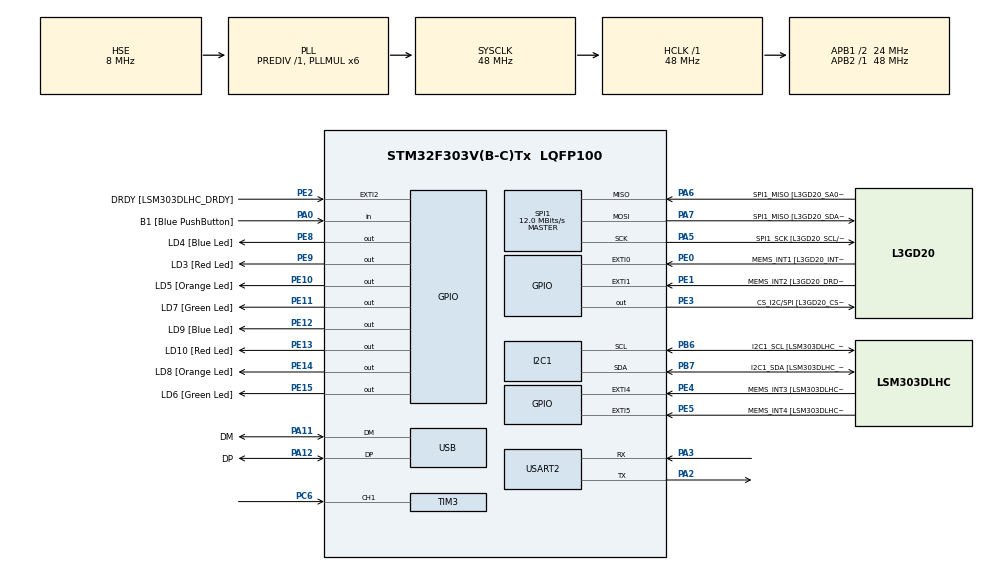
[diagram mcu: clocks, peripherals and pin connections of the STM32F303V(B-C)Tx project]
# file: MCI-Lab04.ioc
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I2C1.Timing=0x00201D2B
I2C1.Timing-I2C=0x2000090E
Mcu.Family=STM32F3
Mcu.Name=STM32F303V(B-C)Tx
Mcu.Package=LQFP100
NVIC.PriorityGroup=NVIC_PRIORITYGROUP_0
NVIC.TIM2_IRQn=true\:0\:0\:false\:false\:true\:true\:true\:true
NVIC.TIM3_IRQn=true\:0\:0\:false\:false\:true\:true\:true\:true
PA0.GPIO_Label=B1 [Blue PushButton]
PA0.Signal=GPIO_Input
PA11.GPIO_Label=DM
PA11.Mode=Device
PA11.Signal=USB_DM
PA12.GPIO_Label=DP
PA12.Mode=Device
PA12.Signal=USB_DP
PA13.GPIO_Label=SWDIO
PA13.Mode=Serial_Wire
PA13.Signal=SYS_JTMS-SWDIO
PA14.GPIO_Label=SWCLK
PA14.Mode=Serial_Wire
PA14.Signal=SYS_JTCK-SWCLK
PA2.Mode=Asynchronous
PA2.Signal=USART2_TX
PA3.Mode=Asynchronous
PA3.Signal=USART2_RX
PA5.GPIO_Label=SPI1_SCK [L3GD20_SCL/SPC]
PA5.Mode=Full_Duplex_Master
PA5.Signal=SPI1_SCK
PA6.GPIO_Label=SPI1_MISO [L3GD20_SA0/SDO]
PA6.Mode=Full_Duplex_Master
PA6.Signal=SPI1_MISO
PA7.GPIO_Label=SPI1_MISO [L3GD20_SDA/SDI/SDO]
PA7.Mode=Full_Duplex_Master
PA7.Signal=SPI1_MOSI
PB3.GPIO_Label=SWO
PB3.Signal=SYS_JTDO-TRACESWO
PB6.GPIO_Label=I2C1_SCL [LSM303DLHC_SCL]
PB6.GPIO_Pu=GPIO_PULLUP
PB6.Mode=I2C
PB6.Signal=I2C1_SCL
PB7.GPIO_Label=I2C1_SDA [LSM303DLHC_SDA]
PB7.GPIO_Pu=GPIO_PULLUP
PB7.Mode=I2C
PB7.Signal=I2C1_SDA
PC14-OSC32_IN.GPIO_Label=OSC32_IN
PC14-OSC32_IN.Signal=RCC_OSC32_IN
PC15-OSC32_OUT.GPIO_Label=OSC32_OUT
PC15-OSC32_OUT.Signal=RCC_OSC32_OUT
PC6.Signal=S_TIM3_CH1
PE0.GPIO_Label=MEMS_INT1 [L3GD20_INT1]
PE0.GPIO_ModeDefaultEXTI=GPIO_MODE_EVT_RISING
PE0.Signal=GPXTI0
PE1.GPIO_Label=MEMS_INT2 [L3GD20_DRDY/INT2]
PE1.GPIO_ModeDefaultEXTI=GPIO_MODE_EVT_RISING
PE1.Signal=GPXTI1
PE10.GPIO_Label=LD5 [Orange Led]
PE10.Signal=GPIO_Output
PE11.GPIO_Label=LD7 [Green Led]
PE11.Signal=GPIO_Output
PE12.GPIO_Label=LD9 [Blue Led]
PE12.Signal=GPIO_Output
PE13.GPIO_Label=LD10 [Red Led]
PE13.Signal=GPIO_Output
PE14.GPIO_Label=LD8 [Orange Led]
PE14.Signal=GPIO_Output
PE15.GPIO_Label=LD6 [Green Led]
PE15.Signal=GPIO_Output
PE2.GPIO_Label=DRDY [LSM303DLHC_DRDY]
PE2.GPIO_ModeDefaultEXTI=GPIO_MODE_EVT_RISING
PE2.Signal=GPXTI2
PE3.GPIO_Label=CS_I2C/SPI [L3GD20_CS_I2C/SPI]
PE3.Signal=GPIO_Output
PE4.GPIO_Label=MEMS_INT3 [LSM303DLHC_INT1]
PE4.GPIO_ModeDefaultEXTI=GPIO_MODE_EVT_RISING
PE4.Signal=GPXTI4
PE5.GPIO_Label=MEMS_INT4 [LSM303DLHC_INT2]
PE5.GPIO_ModeDefaultEXTI=GPIO_MODE_EVT_RISING
PE5.Signal=GPXTI5
PE8.GPIO_Label=LD4 [Blue Led]
PE8.Signal=GPIO_Output
PE9.GPIO_Label=LD3 [Red Led]
PE9.Signal=GPIO_Output
PF0-OSC_IN.GPIO_Label=OSC_IN
PF0-OSC_IN.Mode=HSE-External-Clock-Source
PF0-OSC_IN.Signal=RCC_OSC_IN
PF1-OSC_OUT.GPIO_Label=OSC_OUT
PF1-OSC_OUT.Signal=RCC_OSC_OUT
ProjectManager.HeapSize=0x200
ProjectManager.StackSize=0x400
ProjectManager.TargetToolchain=CMake
RCC.AHBFreq_Value=48000000
RCC.APB1CLKDivider=RCC_HCLK_DIV2
RCC.APB1Freq_Value=24000000
RCC.APB1TimFreq_Value=48000000
RCC.APB2Freq_Value=48000000
RCC.APB2TimFreq_Value=48000000
RCC.CortexFreq_Value=48000000
RCC.HCLKFreq_Value=48000000
RCC.HSE_VALUE=8000000
RCC.HSI_VALUE=8000000
RCC.LSE_VALUE=32768
RCC.PLLMUL=RCC_PLL_MUL6
RCC.SYSCLKFreq_VALUE=48000000
RCC.SYSCLKSourceVirtual=RCC_SYSCLKSOURCE_PLLCLK
RCC.USBFreq_Value=48000000
SH.S_TIM3_CH1.0=TIM3_CH1,Input_Capture1_from_TI1
SPI1.BaudRatePrescaler=SPI_BAUDRATEPRESCALER_4
SPI1.BaudRatePrescaler-Full_Duplex_Master=SPI_BAUDRATEPRESCALER_2
SPI1.CalculateBaudRate=12.0 MBits/s
SPI1.CalculateBaudRate-Full_Duplex_Master=24.0 MBits/s
SPI1.Direction=SPI_DIRECTION_2LINES
SPI1.Mode=SPI_MODE_MASTER
SPI1.Mode-Full_Duplex_Master=SPI_MODE_MASTER
SPI1.VirtualType=VM_MASTER
TIM2.AutoReloadPreload=TIM_AUTORELOAD_PRELOAD_ENABLE
TIM2.Period=999
TIM2.Prescaler=47
TIM3.AutoReloadPreload=TIM_AUTORELOAD_PRELOAD_ENABLE
TIM3.Channel-Input_Capture1_from_TI1=TIM_CHANNEL_1
TIM3.Prescaler=47
USART2.VirtualMode-Asynchronous=VM_ASYNC
VP_TIM2_VS_ClockSourceINT.Mode=Internal
VP_TIM3_VS_ClockSourceINT.Mode=Internal
board=STM32F3DISCOVERY

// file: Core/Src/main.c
/* USER CODE BEGIN Header */
/* USER CODE END Header */
#include "main.h"
#include <stdio.h>
#include <stdarg.h>
#include <string.h>

I2C_HandleTypeDef hi2c1;

SPI_HandleTypeDef hspi1;

TIM_HandleTypeDef htim2;
TIM_HandleTypeDef htim3;

UART_HandleTypeDef huart2;

PCD_HandleTypeDef hpcd_USB_FS;

/* USER CODE BEGIN PV */
// // Task 4: LED counters
uint32_t count_red = 0;
uint32_t count_blue = 0;
uint32_t count_green = 0;

uint32_t ic_val1 = 0;      // First capture timestamp
uint32_t ic_val2 = 0;      // Second capture timestamp
uint32_t difference = 0;   // The period (in timer ticks)
uint8_t is_first_capture = 1; // Flag to track step 1 vs step 2
float frequency = 0.0;     // The result

/* USER CODE END PV */

void SystemClock_Config(void);
static void MX_GPIO_Init(void);
static void MX_I2C1_Init(void);
static void MX_SPI1_Init(void);
static void MX_TIM2_Init(void);
static void MX_USB_PCD_Init(void);
static void MX_TIM3_Init(void);
static void MX_USART2_UART_Init(void);

/* USER CODE BEGIN 0 */

void delay_ms(uint32_t ms) {
    // Reset counter to start at 0
    __HAL_TIM_SET_COUNTER(&htim2, 0);

    // Start the timer
    HAL_TIM_Base_Start(&htim2);

    // ADJUSTMENT FOR 48 MHz CLOCK: Each tick is 0.1 ms with prescaler 4799 and period 9999
    uint32_t ticks_needed = ms *10;

    while(__HAL_TIM_GET_COUNTER(&htim2) < ticks_needed);

    // Stop the timer
    HAL_TIM_Base_Stop(&htim2);
}

/* USER CODE BEGIN 0 */
void myPrintf(const char *fmt, ...) {
  char buffer[100];
  va_list args;
  va_start(args, fmt);
  vsnprintf(buffer, sizeof(buffer), fmt, args);
  va_end(args);

  // Send via USART2
  HAL_UART_Transmit(&huart2, (uint8_t*)buffer, strlen(buffer), HAL_MAX_DELAY);
}
/* USER CODE END 0 */

/* USER CODE END 0 */

int main(void)
{

  /* MCU Configuration--------------------------------------------------------*/

  /* Reset of all peripherals, Initializes the Flash interface and the Systick. */
  HAL_Init();

  /* Configure the system clock */
  SystemClock_Config();

  /* Initialize all configured peripherals */
  MX_GPIO_Init();
  MX_I2C1_Init();
  MX_SPI1_Init();
  MX_TIM2_Init();
  MX_USB_PCD_Init();
  MX_TIM3_Init();
  MX_USART2_UART_Init();
  /* USER CODE BEGIN 2 */
  HAL_TIM_IC_Start_IT(&htim3, TIM_CHANNEL_1);
  HAL_TIM_Base_Start_IT(&htim2); // The "_IT" stands for Interrupt

  /* USER CODE END 2 */

  /* Infinite loop */
/* USER CODE BEGIN WHILE */
while (1)
{

    //   HAL_GPIO_TogglePin(GPIOE, GPIO_PIN_9);  // Toggle LED
    // delay_ms(1000);
    // Print frequency to Terminal (baud 38400)
    // myPrintf("Frequency: %.2f Hz\r\n", frequency);

    // // Toggle Red LED just to show the board is alive
    // HAL_GPIO_TogglePin(GPIOE, GPIO_PIN_9);

    // // Wait 500ms
    // HAL_Delay(500);

}    /* USER CODE END WHILE */

}

void SystemClock_Config(void)
{
  RCC_OscInitTypeDef RCC_OscInitStruct = {0};
  RCC_ClkInitTypeDef RCC_ClkInitStruct = {0};
  RCC_PeriphCLKInitTypeDef PeriphClkInit = {0};

  /** Initializes the RCC Oscillators according to the specified parameters
  * in the RCC_OscInitTypeDef structure.
  */
  RCC_OscInitStruct.OscillatorType = RCC_OSCILLATORTYPE_HSI|RCC_OSCILLATORTYPE_HSE;
  RCC_OscInitStruct.HSEState = RCC_HSE_BYPASS;
  RCC_OscInitStruct.HSEPredivValue = RCC_HSE_PREDIV_DIV1;
  RCC_OscInitStruct.HSIState = RCC_HSI_ON;
  RCC_OscInitStruct.HSICalibrationValue = RCC_HSICALIBRATION_DEFAULT;
  RCC_OscInitStruct.PLL.PLLState = RCC_PLL_ON;
  RCC_OscInitStruct.PLL.PLLSource = RCC_PLLSOURCE_HSE;
  RCC_OscInitStruct.PLL.PLLMUL = RCC_PLL_MUL6;
  if (HAL_RCC_OscConfig(&RCC_OscInitStruct) != HAL_OK)
  {
    Error_Handler();
  }

  /** Initializes the CPU, AHB and APB buses clocks
  */
  RCC_ClkInitStruct.ClockType = RCC_CLOCKTYPE_HCLK|RCC_CLOCKTYPE_SYSCLK
                              |RCC_CLOCKTYPE_PCLK1|RCC_CLOCKTYPE_PCLK2;
  RCC_ClkInitStruct.SYSCLKSource = RCC_SYSCLKSOURCE_PLLCLK;
  RCC_ClkInitStruct.AHBCLKDivider = RCC_SYSCLK_DIV1;
  RCC_ClkInitStruct.APB1CLKDivider = RCC_HCLK_DIV2;
  RCC_ClkInitStruct.APB2CLKDivider = RCC_HCLK_DIV1;

  if (HAL_RCC_ClockConfig(&RCC_ClkInitStruct, FLASH_LATENCY_1) != HAL_OK)
  {
    Error_Handler();
  }
  PeriphClkInit.PeriphClockSelection = RCC_PERIPHCLK_USB|RCC_PERIPHCLK_USART2
                              |RCC_PERIPHCLK_I2C1;
  PeriphClkInit.Usart2ClockSelection = RCC_USART2CLKSOURCE_PCLK1;
  PeriphClkInit.I2c1ClockSelection = RCC_I2C1CLKSOURCE_HSI;
  PeriphClkInit.USBClockSelection = RCC_USBCLKSOURCE_PLL;
  if (HAL_RCCEx_PeriphCLKConfig(&PeriphClkInit) != HAL_OK)
  {
    Error_Handler();
  }
}

static void MX_I2C1_Init(void)
{

  hi2c1.Instance = I2C1;
  hi2c1.Init.Timing = 0x00201D2B;
  hi2c1.Init.OwnAddress1 = 0;
  hi2c1.Init.AddressingMode = I2C_ADDRESSINGMODE_7BIT;
  hi2c1.Init.DualAddressMode = I2C_DUALADDRESS_DISABLE;
  hi2c1.Init.OwnAddress2 = 0;
  hi2c1.Init.OwnAddress2Masks = I2C_OA2_NOMASK;
  hi2c1.Init.GeneralCallMode = I2C_GENERALCALL_DISABLE;
  hi2c1.Init.NoStretchMode = I2C_NOSTRETCH_DISABLE;
  if (HAL_I2C_Init(&hi2c1) != HAL_OK)
  {
    Error_Handler();
  }

  /** Configure Analogue filter
  */
  if (HAL_I2CEx_ConfigAnalogFilter(&hi2c1, I2C_ANALOGFILTER_ENABLE) != HAL_OK)
  {
    Error_Handler();
  }

  /** Configure Digital filter
  */
  if (HAL_I2CEx_ConfigDigitalFilter(&hi2c1, 0) != HAL_OK)
  {
    Error_Handler();
  }

}

static void MX_SPI1_Init(void)
{

  /* SPI1 parameter configuration*/
  hspi1.Instance = SPI1;
  hspi1.Init.Mode = SPI_MODE_MASTER;
  hspi1.Init.Direction = SPI_DIRECTION_2LINES;
  hspi1.Init.DataSize = SPI_DATASIZE_4BIT;
  hspi1.Init.CLKPolarity = SPI_POLARITY_LOW;
  hspi1.Init.CLKPhase = SPI_PHASE_1EDGE;
  hspi1.Init.NSS = SPI_NSS_SOFT;
  hspi1.Init.BaudRatePrescaler = SPI_BAUDRATEPRESCALER_4;
  hspi1.Init.FirstBit = SPI_FIRSTBIT_MSB;
  hspi1.Init.TIMode = SPI_TIMODE_DISABLE;
  hspi1.Init.CRCCalculation = SPI_CRCCALCULATION_DISABLE;
  hspi1.Init.CRCPolynomial = 7;
  hspi1.Init.CRCLength = SPI_CRC_LENGTH_DATASIZE;
  hspi1.Init.NSSPMode = SPI_NSS_PULSE_ENABLE;
  if (HAL_SPI_Init(&hspi1) != HAL_OK)
  {
    Error_Handler();
  }

}

static void MX_TIM2_Init(void)
{

  TIM_ClockConfigTypeDef sClockSourceConfig = {0};
  TIM_MasterConfigTypeDef sMasterConfig = {0};

  htim2.Instance = TIM2;
  htim2.Init.Prescaler = 47;
  htim2.Init.CounterMode = TIM_COUNTERMODE_UP;
  htim2.Init.Period = 999;
  htim2.Init.ClockDivision = TIM_CLOCKDIVISION_DIV1;
  htim2.Init.AutoReloadPreload = TIM_AUTORELOAD_PRELOAD_ENABLE;
  if (HAL_TIM_Base_Init(&htim2) != HAL_OK)
  {
    Error_Handler();
  }
  sClockSourceConfig.ClockSource = TIM_CLOCKSOURCE_INTERNAL;
  if (HAL_TIM_ConfigClockSource(&htim2, &sClockSourceConfig) != HAL_OK)
  {
    Error_Handler();
  }
  sMasterConfig.MasterOutputTrigger = TIM_TRGO_RESET;
  sMasterConfig.MasterSlaveMode = TIM_MASTERSLAVEMODE_DISABLE;
  if (HAL_TIMEx_MasterConfigSynchronization(&htim2, &sMasterConfig) != HAL_OK)
  {
    Error_Handler();
  }

}

static void MX_TIM3_Init(void)
{

  TIM_ClockConfigTypeDef sClockSourceConfig = {0};
  TIM_MasterConfigTypeDef sMasterConfig = {0};
  TIM_IC_InitTypeDef sConfigIC = {0};

  htim3.Instance = TIM3;
  htim3.Init.Prescaler = 47;
  htim3.Init.CounterMode = TIM_COUNTERMODE_UP;
  htim3.Init.Period = 999;
  htim3.Init.ClockDivision = TIM_CLOCKDIVISION_DIV1;
  htim3.Init.AutoReloadPreload = TIM_AUTORELOAD_PRELOAD_ENABLE;
  if (HAL_TIM_Base_Init(&htim3) != HAL_OK)
  {
    Error_Handler();
  }
  sClockSourceConfig.ClockSource = TIM_CLOCKSOURCE_INTERNAL;
  if (HAL_TIM_ConfigClockSource(&htim3, &sClockSourceConfig) != HAL_OK)
  {
    Error_Handler();
  }
  if (HAL_TIM_IC_Init(&htim3) != HAL_OK)
  {
    Error_Handler();
  }
  sMasterConfig.MasterOutputTrigger = TIM_TRGO_RESET;
  sMasterConfig.MasterSlaveMode = TIM_MASTERSLAVEMODE_DISABLE;
  if (HAL_TIMEx_MasterConfigSynchronization(&htim3, &sMasterConfig) != HAL_OK)
  {
    Error_Handler();
  }
  sConfigIC.ICPolarity = TIM_INPUTCHANNELPOLARITY_RISING;
  sConfigIC.ICSelection = TIM_ICSELECTION_DIRECTTI;
  sConfigIC.ICPrescaler = TIM_ICPSC_DIV1;
  sConfigIC.ICFilter = 0;
  if (HAL_TIM_IC_ConfigChannel(&htim3, &sConfigIC, TIM_CHANNEL_1) != HAL_OK)
  {
    Error_Handler();
  }

}

static void MX_USART2_UART_Init(void)
{

  huart2.Instance = USART2;
  huart2.Init.BaudRate = 115200;
  huart2.Init.WordLength = UART_WORDLENGTH_8B;
  huart2.Init.StopBits = UART_STOPBITS_1;
  huart2.Init.Parity = UART_PARITY_NONE;
  huart2.Init.Mode = UART_MODE_TX_RX;
  huart2.Init.HwFlowCtl = UART_HWCONTROL_NONE;
  huart2.Init.OverSampling = UART_OVERSAMPLING_16;
  huart2.Init.OneBitSampling = UART_ONE_BIT_SAMPLE_DISABLE;
  huart2.AdvancedInit.AdvFeatureInit = UART_ADVFEATURE_NO_INIT;
  if (HAL_UART_Init(&huart2) != HAL_OK)
  {
    Error_Handler();
  }

}

static void MX_USB_PCD_Init(void)
{

  hpcd_USB_FS.Instance = USB;
  hpcd_USB_FS.Init.dev_endpoints = 8;
  hpcd_USB_FS.Init.speed = PCD_SPEED_FULL;
  hpcd_USB_FS.Init.phy_itface = PCD_PHY_EMBEDDED;
  hpcd_USB_FS.Init.low_power_enable = DISABLE;
  hpcd_USB_FS.Init.battery_charging_enable = DISABLE;
  if (HAL_PCD_Init(&hpcd_USB_FS) != HAL_OK)
  {
    Error_Handler();
  }

}

static void MX_GPIO_Init(void)
{
  GPIO_InitTypeDef GPIO_InitStruct = {0};

  /* GPIO Ports Clock Enable */
  __HAL_RCC_GPIOE_CLK_ENABLE();
  __HAL_RCC_GPIOC_CLK_ENABLE();
  __HAL_RCC_GPIOF_CLK_ENABLE();
  __HAL_RCC_GPIOA_CLK_ENABLE();
  __HAL_RCC_GPIOB_CLK_ENABLE();

  /*Configure GPIO pin Output Level */
  HAL_GPIO_WritePin(GPIOE, CS_I2C_SPI_Pin|LD4_Pin|LD3_Pin|LD5_Pin
                          |LD7_Pin|LD9_Pin|LD10_Pin|LD8_Pin
                          |LD6_Pin, GPIO_PIN_RESET);

  /*Configure GPIO pins : DRDY_Pin MEMS_INT3_Pin MEMS_INT4_Pin MEMS_INT1_Pin
                           MEMS_INT2_Pin */
  GPIO_InitStruct.Pin = DRDY_Pin|MEMS_INT3_Pin|MEMS_INT4_Pin|MEMS_INT1_Pin
                          |MEMS_INT2_Pin;
  GPIO_InitStruct.Mode = GPIO_MODE_EVT_RISING;
  GPIO_InitStruct.Pull = GPIO_NOPULL;
  HAL_GPIO_Init(GPIOE, &GPIO_InitStruct);

  /*Configure GPIO pins : CS_I2C_SPI_Pin LD4_Pin LD3_Pin LD5_Pin
                           LD7_Pin LD9_Pin LD10_Pin LD8_Pin
                           LD6_Pin */
  GPIO_InitStruct.Pin = CS_I2C_SPI_Pin|LD4_Pin|LD3_Pin|LD5_Pin
                          |LD7_Pin|LD9_Pin|LD10_Pin|LD8_Pin
                          |LD6_Pin;
  GPIO_InitStruct.Mode = GPIO_MODE_OUTPUT_PP;
  GPIO_InitStruct.Pull = GPIO_NOPULL;
  GPIO_InitStruct.Speed = GPIO_SPEED_FREQ_LOW;
  HAL_GPIO_Init(GPIOE, &GPIO_InitStruct);

  /*Configure GPIO pin : B1_Pin */
  GPIO_InitStruct.Pin = B1_Pin;
  GPIO_InitStruct.Mode = GPIO_MODE_INPUT;
  GPIO_InitStruct.Pull = GPIO_NOPULL;
  HAL_GPIO_Init(B1_GPIO_Port, &GPIO_InitStruct);

}

/* USER CODE BEGIN 4 */
// void HAL_TIM_PeriodElapsedCallback(TIM_HandleTypeDef *htim)
// {
//     // Check if the interrupt came from TIM2
//     if (htim->Instance == TIM2) {
//         HAL_GPIO_TogglePin(GPIOE, GPIO_PIN_9); // Toggle Red LED
//     }
// }

void HAL_TIM_PeriodElapsedCallback(TIM_HandleTypeDef *htim)
{
    if (htim->Instance == TIM2) {
        // 1. Increment all counters
        count_red++;
        count_blue++;
        count_green++;

        // 2. Check Red LED (500ms) - usually PE9
        if (count_red >= 5000) {
            HAL_GPIO_TogglePin(GPIOE, GPIO_PIN_9);
            count_red = 0;
        }

        // 3. Check Blue LED (200ms) - usually PE8
        if (count_blue >= 200) {
            // HAL_GPIO_TogglePin(GPIOE, GPIO_PIN_8);
            count_blue = 0;
        }

        // 4. Check Green LED (100ms) -
        if (count_green >= 100) {
            // HAL_GPIO_TogglePin(GPIOE, GPIO_PIN_11);
            count_green = 0;
        }
    }
}

// void HAL_TIM_IC_CaptureCallback(TIM_HandleTypeDef *htim)
// {
//     if (htim->Channel == HAL_TIM_ACTIVE_CHANNEL_1)
//     {
//         if (is_first_capture)
//         {
//             ic_val1 = HAL_TIM_ReadCapturedValue(htim, TIM_CHANNEL_1);
//             is_first_capture = 0;
//         }
//         else
//         {
//             ic_val2 = HAL_TIM_ReadCapturedValue(htim, TIM_CHANNEL_1);

//             // Calculate difference, handling 16-bit counter rollover
//             if (ic_val2 > ic_val1) {
//                 difference = ic_val2 - ic_val1;
//             } else {
//                 difference = (0xFFFF - ic_val1) + ic_val2;
//             }

//             // Calc Frequency: Clock is 1MHz (48MHz / 48), so F = 1,000,000 / Period
//             if (difference != 0) {
//                 frequency = 1000000.0f / (float)difference;
//             }

//             is_first_capture = 1;
//         }
//     }
// }

/* USER CODE END 4 */

void Error_Handler(void)
{
}
